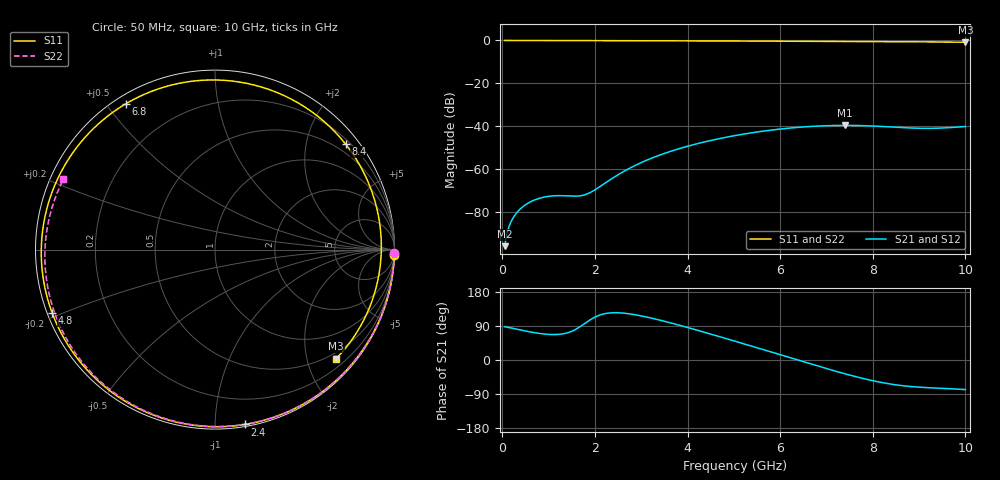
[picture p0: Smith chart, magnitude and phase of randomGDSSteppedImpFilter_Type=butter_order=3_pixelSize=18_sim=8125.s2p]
! freq	dB(S11)	phase(S11)	dB(S12)	phase(S12)
!  dB(S21)	phase(S21)	dB(S22)	phase(S22)
!S-par simulation data
#  GHz  S  DB  R 50
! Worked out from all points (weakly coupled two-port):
!   200 points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, 50 MHz to 10 GHz, reference 50 ohm
!   highest |S21| = -39.66 dB at 7.4 GHz (marker M1); lowest = -96.1 dB at 50 MHz (marker M2)
!   lowest |S11| = -0.8 dB at 10 GHz (marker M3), VSWR 20.75, Z = 18.5 - j128 ohm
!   |S11| at or under -10 dB: nowhere
!   |S22| runs from -0.6 to 0.0 dB; largest |S21 - S12| = 0
!   S11 on the Smith chart (normalised r, x): 50 MHz: 1, -66; 2.4 GHz: 0.01, -1.19; 4.8 GHz: 0.01, -0.19; 6.8 GHz: 0.03, +0.56; 8.4 GHz: 0.30, +2.80; 10 GHz: 0.37, -2.56
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0.05  -0.00 -1.7  -96.07 87.9  -96.07 87.9  -0.00 -1.2
0.3  -0.01 -10.3  -80.78 81.6  -80.78 81.6  -0.01 -7.1
0.6  -0.02 -20.5  -75.45 74.1  -75.45 74.1  -0.02 -14.2
0.9  -0.04 -30.7  -73.16 68.6  -73.16 68.6  -0.03 -21.2
1.75  -0.07 -59.0  -72.26 93.7  -72.26 93.7  -0.05 -40.6
2.4  -0.10 -80.2  -64.05 124.7  -64.05 124.7  -0.07 -55.1
3.4  -0.15 -112.4  -53.53 105.3  -53.53 105.3  -0.10 -76.4
4.05  -0.18 -133.4  -49.11 84.1  -49.11 84.1  -0.12 -89.7
4.8  -0.23 -158.6  -45.34 57.8  -45.34 57.8  -0.15 -104.5
5.05  -0.25 -167.4  -44.33 48.7  -44.33 48.7  -0.17 -109.3
5.9  -0.33 160.6  -41.63 17.5  -41.63 17.5  -0.21 -125.4
6.3  -0.37 144.0  -40.74 2.8  -40.74 2.8  -0.24 -132.9
6.7  -0.41 126.2  -40.11 -11.9  -40.11 -11.9  -0.27 -140.3
6.8  -0.42 121.5  -40.00 -15.5  -40.00 -15.5  -0.28 -142.2
7.4  -0.49 92.2  -39.66 -36.5  -39.66 -36.5  -0.33 -153.4
7.85  -0.53 68.6  -39.83 -50.5  -39.83 -50.5  -0.37 -161.8
8.35  -0.57 41.7  -40.36 -62.8  -40.36 -62.8  -0.42 -171.4
8.4  -0.58 39.0  -40.42 -63.8  -40.42 -63.8  -0.43 -172.3
8.8  -0.62 17.5  -40.87 -69.8  -40.87 -69.8  -0.47 179.9
9.15  -0.66 -0.7  -41.05 -72.8  -41.05 -72.8  -0.51 172.9
9.55  -0.73 -20.7  -40.85 -75.0  -40.85 -75.0  -0.56 164.7
10  -0.84 -41.9  -40.17 -78.1  -40.17 -78.1  -0.62 155.1
